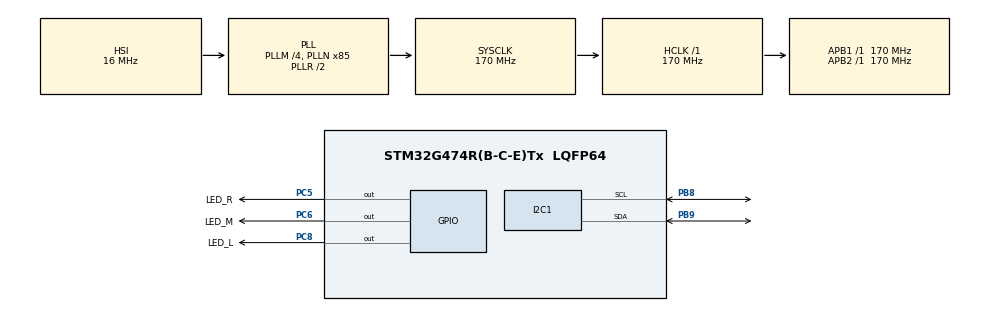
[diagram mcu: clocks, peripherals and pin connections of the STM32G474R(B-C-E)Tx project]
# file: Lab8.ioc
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I2C1.Timing=0x40B285C2
Mcu.Family=STM32G4
Mcu.Name=STM32G474R(B-C-E)Tx
Mcu.Package=LQFP64
NVIC.I2C1_ER_IRQn=true\:0\:0\:false\:false\:true\:true\:true\:true
NVIC.I2C1_EV_IRQn=true\:0\:0\:false\:false\:true\:true\:true\:true
NVIC.PriorityGroup=NVIC_PRIORITYGROUP_4
PA13.GPIO_Label=T_SWDIO
PA13.Signal=SYS_JTMS-SWDIO
PA14.GPIO_Label=T_SWCLK
PA14.Signal=SYS_JTCK-SWCLK
PA2.GPIO_Label=LPUART1_TX [STLINKV3E_VCP_RX]
PA2.Signal=LPUART1_TX
PA3.GPIO_Label=LPUART1_RX [STLINKV3E_VCP_TX]
PA3.Signal=LPUART1_RX
PB3.GPIO_Label=T_SWO
PB3.Signal=SYS_JTDO-SWO
PB8-BOOT0.Mode=I2C
PB8-BOOT0.Signal=I2C1_SCL
PB9.Mode=I2C
PB9.Signal=I2C1_SDA
PC14-OSC32_IN.GPIO_Label=RCC_OSC32_IN
PC14-OSC32_IN.Signal=RCC_OSC32_IN
PC15-OSC32_OUT.GPIO_Label=RCC_OSC32_OUT
PC15-OSC32_OUT.Signal=RCC_OSC32_OUT
PC5.GPIO_Label=LED_R
PC5.Signal=GPIO_Output
PC6.GPIO_Label=LED_M
PC6.Signal=GPIO_Output
PC8.GPIO_Label=LED_L
PC8.Signal=GPIO_Output
PF0-OSC_IN.GPIO_Label=RCC_OSC_IN
PF0-OSC_IN.Signal=RCC_OSC_IN
PF1-OSC_OUT.GPIO_Label=RCC_OSC_OUT
PF1-OSC_OUT.Signal=RCC_OSC_OUT
ProjectManager.HeapSize=0x200
ProjectManager.StackSize=0x400
ProjectManager.TargetToolchain=STM32CubeIDE
RCC.ADC12Freq_Value=170000000
RCC.ADC345Freq_Value=170000000
RCC.AHBFreq_Value=170000000
RCC.APB1Freq_Value=170000000
RCC.APB1TimFreq_Value=170000000
RCC.APB2Freq_Value=170000000
RCC.APB2TimFreq_Value=170000000
RCC.CortexFreq_Value=170000000
RCC.EXTERNAL_CLOCK_VALUE=12288000
RCC.HCLKFreq_Value=170000000
RCC.HSE_VALUE=24000000
RCC.HSI48_VALUE=48000000
RCC.HSI_VALUE=16000000
RCC.LSE_VALUE=32768
RCC.PLLM=RCC_PLLM_DIV4
RCC.PLLN=85
RCC.RTCClockSelection=RCC_RTCCLKSOURCE_LSE
RCC.SYSCLKFreq_VALUE=170000000
RCC.SYSCLKSource=RCC_SYSCLKSOURCE_PLLCLK
RCC.USBFreq_Value=170000000
RCC.VCOOutputFreq_Value=340000000
VP_SYS_VS_DBSignals.Mode=DisableDeadBatterySignals
board=NUCLEO-G474RE

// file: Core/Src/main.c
/* USER CODE BEGIN Header */
/**
  ******************************************************************************
  * @file           : main.c
  * @brief          : Main program body
  ******************************************************************************
  * @attention
  *
  * Copyright (c) 2026 STMicroelectronics.
  * All rights reserved.
  *
  * This software is licensed under terms that can be found in the LICENSE file
  * in the root directory of this software component.
  * If no LICENSE file comes with this software, it is provided AS-IS.
  *
  ******************************************************************************
  */
/* USER CODE END Header */
#include "main.h"

/* USER CODE BEGIN Includes */
#include "mpu6050.h"
/* USER CODE END Includes */

/* USER CODE BEGIN PD */
#define TILT_ENTER_DEG  3.0f
#define TILT_EXIT_DEG   2.0f
#define BLINK_MS        200
/* USER CODE END PD */

I2C_HandleTypeDef hi2c1;

void SystemClock_Config(void);
static void MX_GPIO_Init(void);
static void MX_I2C1_Init(void);

/* USER CODE BEGIN 0 */
typedef enum { POS_MID = 0, POS_LEFT, POS_RIGHT } Pos_t;
static Pos_t pos = POS_MID;

static void led_set(GPIO_PinState l, GPIO_PinState m, GPIO_PinState r)
{
  HAL_GPIO_WritePin(LED_L_GPIO_Port, LED_L_Pin, l);
  HAL_GPIO_WritePin(LED_M_GPIO_Port, LED_M_Pin, m);
  HAL_GPIO_WritePin(LED_R_GPIO_Port, LED_R_Pin, r);
}

static void update_pos(float roll)
{
  switch (pos) {
  case POS_MID:
    if (roll >  TILT_ENTER_DEG) pos = POS_LEFT;
    else if (roll < -TILT_ENTER_DEG) pos = POS_RIGHT;
    break;
  case POS_LEFT:
    if (roll <  TILT_EXIT_DEG) pos = POS_MID;
    break;
  case POS_RIGHT:
    if (roll > -TILT_EXIT_DEG) pos = POS_MID;
    break;
  }
}
/* USER CODE END 0 */

int main(void)
{

  /* MCU Configuration--------------------------------------------------------*/

  /* Reset of all peripherals, Initializes the Flash interface and the Systick. */
  HAL_Init();

  /* Configure the system clock */
  SystemClock_Config();

  /* Initialize all configured peripherals */
  MX_GPIO_Init();
  MX_I2C1_Init();
  /* USER CODE BEGIN 2 */
  MPU6050_Start(&hi2c1);
  uint32_t blink_t = HAL_GetTick();
  uint8_t  blink_on = 0;
  /* USER CODE END 2 */

  /* Infinite loop */
  while (1)
  {

    /* USER CODE BEGIN 3 */
    MPU6050_Process();

    if (MPU6050_IsError()) {
      if (HAL_GetTick() - blink_t >= BLINK_MS) {
        blink_t = HAL_GetTick();
        blink_on ^= 1;
        GPIO_PinState s = blink_on ? GPIO_PIN_SET : GPIO_PIN_RESET;
        led_set(s, s, s);
      }
      continue;
    }

    float roll;
    if (MPU6050_GetRoll(&roll)) {
      update_pos(roll);
    }

    if      (pos == POS_LEFT)  led_set(GPIO_PIN_SET,   GPIO_PIN_RESET, GPIO_PIN_RESET);
    else if (pos == POS_RIGHT) led_set(GPIO_PIN_RESET, GPIO_PIN_RESET, GPIO_PIN_SET);
    else                       led_set(GPIO_PIN_RESET, GPIO_PIN_SET,   GPIO_PIN_RESET);
  }
  /* USER CODE END 3 */
}

void SystemClock_Config(void)
{
  RCC_OscInitTypeDef RCC_OscInitStruct = {0};
  RCC_ClkInitTypeDef RCC_ClkInitStruct = {0};

  /** Configure the main internal regulator output voltage
  */
  HAL_PWREx_ControlVoltageScaling(PWR_REGULATOR_VOLTAGE_SCALE1_BOOST);

  /** Initializes the RCC Oscillators according to the specified parameters
  * in the RCC_OscInitTypeDef structure.
  */
  RCC_OscInitStruct.OscillatorType = RCC_OSCILLATORTYPE_HSI;
  RCC_OscInitStruct.HSIState = RCC_HSI_ON;
  RCC_OscInitStruct.HSICalibrationValue = RCC_HSICALIBRATION_DEFAULT;
  RCC_OscInitStruct.PLL.PLLState = RCC_PLL_ON;
  RCC_OscInitStruct.PLL.PLLSource = RCC_PLLSOURCE_HSI;
  RCC_OscInitStruct.PLL.PLLM = RCC_PLLM_DIV4;
  RCC_OscInitStruct.PLL.PLLN = 85;
  RCC_OscInitStruct.PLL.PLLP = RCC_PLLP_DIV2;
  RCC_OscInitStruct.PLL.PLLQ = RCC_PLLQ_DIV2;
  RCC_OscInitStruct.PLL.PLLR = RCC_PLLR_DIV2;
  if (HAL_RCC_OscConfig(&RCC_OscInitStruct) != HAL_OK)
  {
    Error_Handler();
  }

  /** Initializes the CPU, AHB and APB buses clocks
  */
  RCC_ClkInitStruct.ClockType = RCC_CLOCKTYPE_HCLK|RCC_CLOCKTYPE_SYSCLK
                              |RCC_CLOCKTYPE_PCLK1|RCC_CLOCKTYPE_PCLK2;
  RCC_ClkInitStruct.SYSCLKSource = RCC_SYSCLKSOURCE_PLLCLK;
  RCC_ClkInitStruct.AHBCLKDivider = RCC_SYSCLK_DIV1;
  RCC_ClkInitStruct.APB1CLKDivider = RCC_HCLK_DIV1;
  RCC_ClkInitStruct.APB2CLKDivider = RCC_HCLK_DIV1;

  if (HAL_RCC_ClockConfig(&RCC_ClkInitStruct, FLASH_LATENCY_4) != HAL_OK)
  {
    Error_Handler();
  }
}

static void MX_I2C1_Init(void)
{

  hi2c1.Instance = I2C1;
  hi2c1.Init.Timing = 0x40B285C2;
  hi2c1.Init.OwnAddress1 = 0;
  hi2c1.Init.AddressingMode = I2C_ADDRESSINGMODE_7BIT;
  hi2c1.Init.DualAddressMode = I2C_DUALADDRESS_DISABLE;
  hi2c1.Init.OwnAddress2 = 0;
  hi2c1.Init.OwnAddress2Masks = I2C_OA2_NOMASK;
  hi2c1.Init.GeneralCallMode = I2C_GENERALCALL_DISABLE;
  hi2c1.Init.NoStretchMode = I2C_NOSTRETCH_DISABLE;
  if (HAL_I2C_Init(&hi2c1) != HAL_OK)
  {
    Error_Handler();
  }

  /** Configure Analogue filter
  */
  if (HAL_I2CEx_ConfigAnalogFilter(&hi2c1, I2C_ANALOGFILTER_ENABLE) != HAL_OK)
  {
    Error_Handler();
  }

  /** Configure Digital filter
  */
  if (HAL_I2CEx_ConfigDigitalFilter(&hi2c1, 0) != HAL_OK)
  {
    Error_Handler();
  }

}

static void MX_GPIO_Init(void)
{
  GPIO_InitTypeDef GPIO_InitStruct = {0};

  /* GPIO Ports Clock Enable */
  __HAL_RCC_GPIOC_CLK_ENABLE();
  __HAL_RCC_GPIOF_CLK_ENABLE();
  __HAL_RCC_GPIOA_CLK_ENABLE();
  __HAL_RCC_GPIOB_CLK_ENABLE();

  /*Configure GPIO pin Output Level */
  HAL_GPIO_WritePin(GPIOC, LED_R_Pin|LED_M_Pin|LED_L_Pin, GPIO_PIN_RESET);

  /*Configure GPIO pins : LPUART1_TX_Pin LPUART1_RX_Pin */
  GPIO_InitStruct.Pin = LPUART1_TX_Pin|LPUART1_RX_Pin;
  GPIO_InitStruct.Mode = GPIO_MODE_AF_PP;
  GPIO_InitStruct.Pull = GPIO_NOPULL;
  GPIO_InitStruct.Speed = GPIO_SPEED_FREQ_LOW;
  GPIO_InitStruct.Alternate = GPIO_AF12_LPUART1;
  HAL_GPIO_Init(GPIOA, &GPIO_InitStruct);

  /*Configure GPIO pins : LED_R_Pin LED_M_Pin LED_L_Pin */
  GPIO_InitStruct.Pin = LED_R_Pin|LED_M_Pin|LED_L_Pin;
  GPIO_InitStruct.Mode = GPIO_MODE_OUTPUT_PP;
  GPIO_InitStruct.Pull = GPIO_NOPULL;
  GPIO_InitStruct.Speed = GPIO_SPEED_FREQ_LOW;
  HAL_GPIO_Init(GPIOC, &GPIO_InitStruct);

}

void Error_Handler(void)
{
  __disable_irq();
  while (1)
  {
  }
}
